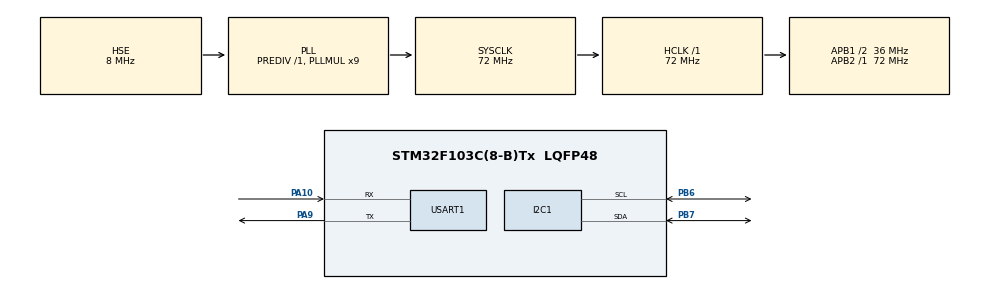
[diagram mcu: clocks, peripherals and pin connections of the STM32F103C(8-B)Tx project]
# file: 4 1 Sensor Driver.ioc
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Dma.I2C1_RX.0.Direction=DMA_PERIPH_TO_MEMORY
Dma.I2C1_RX.0.Instance=DMA1_Channel7
Dma.I2C1_RX.0.MemDataAlignment=DMA_MDATAALIGN_BYTE
Dma.I2C1_RX.0.MemInc=DMA_MINC_ENABLE
Dma.I2C1_RX.0.Mode=DMA_NORMAL
Dma.I2C1_RX.0.PeriphDataAlignment=DMA_PDATAALIGN_BYTE
Dma.I2C1_RX.0.PeriphInc=DMA_PINC_DISABLE
Dma.I2C1_RX.0.Priority=DMA_PRIORITY_LOW
Dma.I2C1_TX.1.Direction=DMA_MEMORY_TO_PERIPH
Dma.I2C1_TX.1.Instance=DMA1_Channel6
Dma.I2C1_TX.1.MemDataAlignment=DMA_MDATAALIGN_BYTE
Dma.I2C1_TX.1.MemInc=DMA_MINC_ENABLE
Dma.I2C1_TX.1.Mode=DMA_NORMAL
Dma.I2C1_TX.1.PeriphDataAlignment=DMA_PDATAALIGN_BYTE
Dma.I2C1_TX.1.PeriphInc=DMA_PINC_DISABLE
Dma.I2C1_TX.1.Priority=DMA_PRIORITY_LOW
Dma.Request0=I2C1_RX
Dma.Request1=I2C1_TX
Dma.Request2=USART1_RX
Dma.Request3=USART1_TX
Dma.USART1_RX.2.Direction=DMA_PERIPH_TO_MEMORY
Dma.USART1_RX.2.Instance=DMA1_Channel5
Dma.USART1_RX.2.MemDataAlignment=DMA_MDATAALIGN_BYTE
Dma.USART1_RX.2.MemInc=DMA_MINC_ENABLE
Dma.USART1_RX.2.Mode=DMA_NORMAL
Dma.USART1_RX.2.PeriphDataAlignment=DMA_PDATAALIGN_BYTE
Dma.USART1_RX.2.PeriphInc=DMA_PINC_DISABLE
Dma.USART1_RX.2.Priority=DMA_PRIORITY_LOW
Dma.USART1_TX.3.Direction=DMA_MEMORY_TO_PERIPH
Dma.USART1_TX.3.Instance=DMA1_Channel4
Dma.USART1_TX.3.MemDataAlignment=DMA_MDATAALIGN_BYTE
Dma.USART1_TX.3.MemInc=DMA_MINC_ENABLE
Dma.USART1_TX.3.Mode=DMA_NORMAL
Dma.USART1_TX.3.PeriphDataAlignment=DMA_PDATAALIGN_BYTE
Dma.USART1_TX.3.PeriphInc=DMA_PINC_DISABLE
Dma.USART1_TX.3.Priority=DMA_PRIORITY_LOW
FREERTOS.Tasks01=defaultTask,24,128,StartDefaultTask,Default,NULL,Dynamic,NULL,NULL
Mcu.Family=STM32F1
Mcu.Name=STM32F103C(8-B)Tx
Mcu.Package=LQFP48
NVIC.DMA1_Channel4_IRQn=true\:5\:0\:false\:false\:true\:true\:false\:true\:true
NVIC.DMA1_Channel5_IRQn=true\:5\:0\:false\:false\:true\:true\:false\:true\:true
NVIC.DMA1_Channel6_IRQn=true\:5\:0\:false\:false\:true\:true\:false\:true\:true
NVIC.DMA1_Channel7_IRQn=true\:5\:0\:false\:false\:true\:true\:false\:true\:true
NVIC.PriorityGroup=NVIC_PRIORITYGROUP_4
NVIC.TIM4_IRQn=true\:15\:0\:false\:false\:true\:false\:false\:true\:true
NVIC.TimeBase=TIM4_IRQn
NVIC.TimeBaseIP=TIM4
NVIC.USART1_IRQn=true\:5\:0\:false\:false\:true\:true\:false\:true\:true
PA10.Mode=Asynchronous
PA10.Signal=USART1_RX
PA13.Mode=Serial_Wire
PA13.Signal=SYS_JTMS-SWDIO
PA14.Mode=Serial_Wire
PA14.Signal=SYS_JTCK-SWCLK
PA9.Mode=Asynchronous
PA9.Signal=USART1_TX
PB6.Mode=I2C
PB6.Signal=I2C1_SCL
PB7.Mode=I2C
PB7.Signal=I2C1_SDA
PC14-OSC32_IN.Mode=LSE-External-Oscillator
PC14-OSC32_IN.Signal=RCC_OSC32_IN
PC15-OSC32_OUT.Mode=LSE-External-Oscillator
PC15-OSC32_OUT.Signal=RCC_OSC32_OUT
PD0-OSC_IN.Mode=HSE-External-Oscillator
PD0-OSC_IN.Signal=RCC_OSC_IN
PD1-OSC_OUT.Mode=HSE-External-Oscillator
PD1-OSC_OUT.Signal=RCC_OSC_OUT
ProjectManager.HeapSize=0x200
ProjectManager.StackSize=0x400
ProjectManager.TargetToolchain=MDK-ARM V5.32
RCC.AHBFreq_Value=72000000
RCC.APB1CLKDivider=RCC_HCLK_DIV2
RCC.APB1Freq_Value=36000000
RCC.APB1TimFreq_Value=72000000
RCC.APB2Freq_Value=72000000
RCC.APB2TimFreq_Value=72000000
RCC.HCLKFreq_Value=72000000
RCC.PLLMUL=RCC_PLL_MUL9
RCC.PLLSourceVirtual=RCC_PLLSOURCE_HSE
RCC.SYSCLKFreq_VALUE=72000000
RCC.SYSCLKSource=RCC_SYSCLKSOURCE_PLLCLK
RCC.USBFreq_Value=72000000
USART1.VirtualMode=VM_ASYNC
VP_FREERTOS_VS_CMSIS_V2.Mode=CMSIS_V2
VP_SYS_VS_tim4.Mode=TIM4
board=custom

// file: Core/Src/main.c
/* USER CODE BEGIN Header */
/**
  ******************************************************************************
  * @file           : main.c
  * @brief          : Main program body
  ******************************************************************************
  * @attention
  *
  * Copyright (c) 2025 STMicroelectronics.
  * All rights reserved.
  *
  * This software is licensed under terms that can be found in the LICENSE file
  * in the root directory of this software component.
  * If no LICENSE file comes with this software, it is provided AS-IS.
  *
  ******************************************************************************
  */
/* USER CODE END Header */
#include "main.h"
#include "cmsis_os.h"
#include "dma.h"
#include "i2c.h"
#include "usart.h"
#include "gpio.h"

void SystemClock_Config(void);
void MX_FREERTOS_Init(void);

int main(void)
{

  /* MCU Configuration--------------------------------------------------------*/

  /* Reset of all peripherals, Initializes the Flash interface and the Systick. */
  HAL_Init();

  /* Configure the system clock */
  SystemClock_Config();

  /* Initialize all configured peripherals */
  MX_GPIO_Init();
  MX_DMA_Init();
  MX_I2C1_Init();
  MX_USART1_UART_Init();

  /* Init scheduler */
  osKernelInitialize();  /* Call init function for freertos objects (in cmsis_os2.c) */
  MX_FREERTOS_Init();

  /* Start scheduler */
  osKernelStart();

  /* We should never get here as control is now taken by the scheduler */

  /* Infinite loop */
  while (1)
  {

  }
}

void SystemClock_Config(void)
{
  RCC_OscInitTypeDef RCC_OscInitStruct = {0};
  RCC_ClkInitTypeDef RCC_ClkInitStruct = {0};

  /** Initializes the RCC Oscillators according to the specified parameters
  * in the RCC_OscInitTypeDef structure.
  */
  RCC_OscInitStruct.OscillatorType = RCC_OSCILLATORTYPE_HSE;
  RCC_OscInitStruct.HSEState = RCC_HSE_ON;
  RCC_OscInitStruct.HSEPredivValue = RCC_HSE_PREDIV_DIV1;
  RCC_OscInitStruct.HSIState = RCC_HSI_ON;
  RCC_OscInitStruct.PLL.PLLState = RCC_PLL_ON;
  RCC_OscInitStruct.PLL.PLLSource = RCC_PLLSOURCE_HSE;
  RCC_OscInitStruct.PLL.PLLMUL = RCC_PLL_MUL9;
  if (HAL_RCC_OscConfig(&RCC_OscInitStruct) != HAL_OK)
  {
    Error_Handler();
  }

  /** Initializes the CPU, AHB and APB buses clocks
  */
  RCC_ClkInitStruct.ClockType = RCC_CLOCKTYPE_HCLK|RCC_CLOCKTYPE_SYSCLK
                              |RCC_CLOCKTYPE_PCLK1|RCC_CLOCKTYPE_PCLK2;
  RCC_ClkInitStruct.SYSCLKSource = RCC_SYSCLKSOURCE_PLLCLK;
  RCC_ClkInitStruct.AHBCLKDivider = RCC_SYSCLK_DIV1;
  RCC_ClkInitStruct.APB1CLKDivider = RCC_HCLK_DIV2;
  RCC_ClkInitStruct.APB2CLKDivider = RCC_HCLK_DIV1;

  if (HAL_RCC_ClockConfig(&RCC_ClkInitStruct, FLASH_LATENCY_2) != HAL_OK)
  {
    Error_Handler();
  }
}

void HAL_TIM_PeriodElapsedCallback(TIM_HandleTypeDef *htim)
{
  if (htim->Instance == TIM4)
  {
    HAL_IncTick();
  }
}

void Error_Handler(void)
{
  __disable_irq();
  while (1)
  {
  }
}

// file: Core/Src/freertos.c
/* USER CODE BEGIN Header */
/**
  ******************************************************************************
  * File Name          : freertos.c
  * Description        : Code for freertos applications
  ******************************************************************************
  * @attention
  *
  * Copyright (c) 2025 STMicroelectronics.
  * All rights reserved.
  *
  * This software is licensed under terms that can be found in the LICENSE file
  * in the root directory of this software component.
  * If no LICENSE file comes with this software, it is provided AS-IS.
  *
  ******************************************************************************
  */
/* USER CODE END Header */

#include "FreeRTOS.h"
#include "task.h"
#include "main.h"
#include "cmsis_os.h"

/* USER CODE BEGIN Includes */
#include <MPU6050.h>
#include <data.h>
#include <string.h>
#include <usart.h>
#include <stdio.h>
/* USER CODE END Includes */

/* USER CODE BEGIN PTD */
void TASK_MPU_F(void *ptr);
void TASK_TRANS_F(void *ptr);
/* USER CODE END PTD */

/* USER CODE BEGIN Variables */
osThreadId_t TASK_MPU_HANDLE,TASK_TRANS_HANDLE;
#define TASK_MPU_STACK_SIZE 256
#define TASK_MPU_PRIORITY osPriorityNormal
#define TASK_TRANS_STACK_SIZE 512
#define TASK_TRANS_PRIORITY osPriorityNormal
/* USER CODE END Variables */
/* Definitions for defaultTask */
osThreadId_t defaultTaskHandle;
const osThreadAttr_t defaultTask_attributes = {
  .name = "defaultTask",
  .stack_size = 128 * 4,
  .priority = (osPriority_t) osPriorityNormal,
};

void StartDefaultTask(void *argument);

void MX_FREERTOS_Init(void); /* (MISRA C 2004 rule 8.1) */

void MX_FREERTOS_Init(void) {
  /* USER CODE BEGIN Init */
  MPU6050_Init();
  /* USER CODE END Init */

  /* Create the thread(s) */
  /* creation of defaultTask */
  defaultTaskHandle = osThreadNew(StartDefaultTask, NULL, &defaultTask_attributes);

  /* USER CODE BEGIN RTOS_THREADS */
  TASK_MPU_HANDLE = osThreadNew(TASK_MPU_F,NULL,&(osThreadAttr_t){
    .name = "TASK_MPU",
    .stack_size = TASK_MPU_STACK_SIZE,
    .priority = TASK_MPU_PRIORITY,

  });

  TASK_TRANS_HANDLE = osThreadNew(TASK_TRANS_F,NULL,&(osThreadAttr_t){
    .name = "TASK_TRANS",
    .stack_size = TASK_TRANS_STACK_SIZE,
    .priority = TASK_TRANS_PRIORITY,
  });

  /* USER CODE END RTOS_THREADS */

}

void StartDefaultTask(void *argument)
{
  for(;;)
  {
    osDelay(1);
  }
}

/* USER CODE BEGIN Application */
void TASK_MPU_F(void *ptr){
  while (1)
  {
    MPU6050_Read();
    osDelay(1000);
  }
}

void TASK_TRANS_F(void *ptr){
  while(1){
    if(DMA_ready){
    DMA_ready = 0;
    char buff[256];
    int length = sprintf(buff,"\r\nAccel_x:%d\r\nAccel_y:%d\r\nAccel_z:%d\r\nGyro_x:%d\r\nGyro_y:%d\r\nGyro_z:%d\r\n",Accel_X_RAW,Accel_Y_RAW,Accel_Z_RAW,Gyro_X_RAW,Gyro_Y_RAW,Gyro_Z_RAW);
    HAL_UART_Transmit_DMA(&huart1,(const uint8_t *)buff,length);
    }
    osDelay(1000);
  }
}

void HAL_UART_TxCpltCallback(UART_HandleTypeDef *huart){
  if(huart ->Instance == USART1){
    DMA_ready = 1;
  }
}
/* USER CODE END Application */
